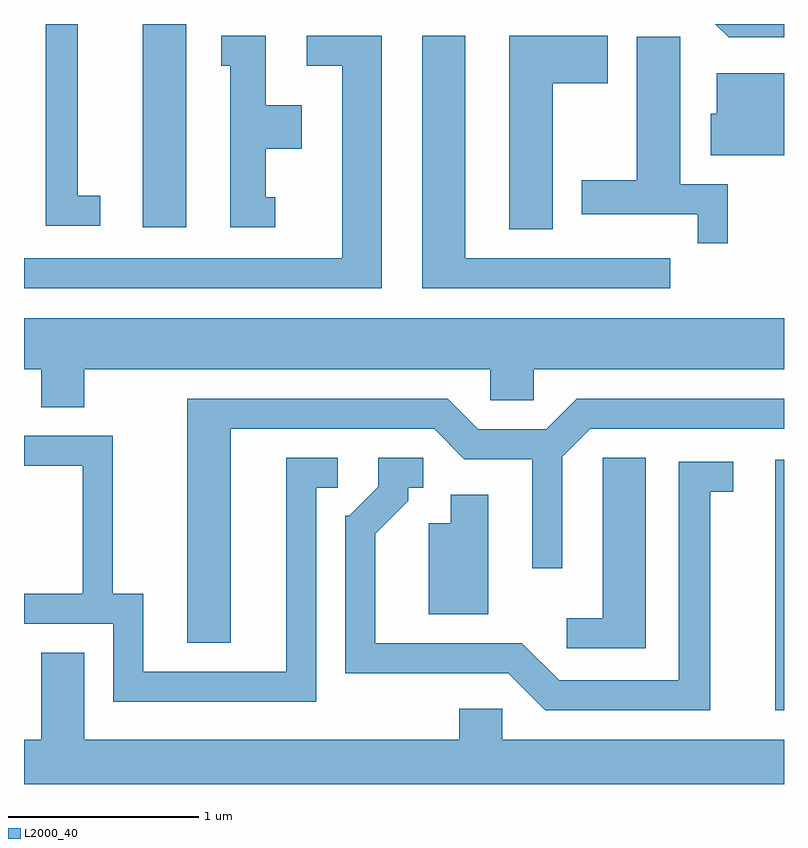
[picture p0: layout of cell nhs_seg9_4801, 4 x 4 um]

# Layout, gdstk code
import gdstk
lib = gdstk.Library(unit=1e-6, precision=1e-09)
def R(c, l, rs):  # rectangles x0, y0, x1, y1
    for r in rs: c.add(gdstk.rectangle(r[:2], r[2:], *l))
def P(c, l, *ps):  # polygons
    for p in ps: c.add(gdstk.Polygon(p, *l))
L2000_40 = (2000, 40)

nhs_seg9_4801 = lib.new_cell('nhs_seg9_4801')
R(nhs_seg9_4801, L2000_40, [(329.566,2078.821,329.611,2080.139), (326.236,2081.361,326.464,2082.432)])
P(nhs_seg9_4801, L2000_40, [(329.611,2082.432),(329.248,2082.432),(329.319,2082.361),(329.611,2082.361)],
  [(326.013,2081.529),(325.894,2081.529),(325.894,2082.432),(325.726,2082.432),(325.726,2081.371),(326.013,2081.371)],
  [(326.933,2081.519),(326.884,2081.519),(326.884,2081.776),(327.074,2081.776),(327.074,2082.004),(326.884,2082.004),(326.884,2082.369),(326.648,2082.369),(326.648,2082.211),(326.696,2082.211),(326.696,2081.361),(326.933,2081.361)],
  [(328.394,2082.121),(328.684,2082.121),(328.684,2082.369),(328.166,2082.369),(328.166,2081.351),(328.394,2081.351)],
  [(329.013,2081.199),(327.934,2081.199),(327.934,2082.369),(327.706,2082.369),(327.706,2081.041),(329.013,2081.041)],
  [(327.494,2082.369),(327.098,2082.369),(327.098,2082.211),(327.286,2082.211),(327.286,2081.199),(325.611,2081.199),(325.611,2081.041),(327.494,2081.041)],
  [(329.314,2081.589),(329.064,2081.589),(329.064,2082.364),(328.836,2082.364),(328.836,2081.609),(328.546,2081.609),(328.546,2081.431),(329.156,2081.431),(329.156,2081.278),(329.314,2081.278)],
  [(329.611,2082.174),(329.256,2082.174),(329.256,2081.959),(329.226,2081.959),(329.226,2081.741),(329.611,2081.741)],
  [(325.929,2080.616),(328.066,2080.616),(328.066,2080.451),(328.294,2080.451),(328.294,2080.616),(329.611,2080.616),(329.611,2080.884),(325.611,2080.884),(325.611,2080.616),(325.701,2080.616),(325.701,2080.416),(325.929,2080.416)],
  [(326.699,2080.301),(327.769,2080.301),(327.929,2080.141),(328.286,2080.141),(328.286,2079.568),(328.444,2079.568),(328.444,2080.154),(328.592,2080.301),(329.611,2080.301),(329.611,2080.459),(328.519,2080.459),(328.359,2080.299),(328.002,2080.299),(327.842,2080.459),(326.471,2080.459),(326.471,2079.176),(326.699,2079.176)],
  [(327.149,2079.991),(327.263,2079.991),(327.263,2080.149),(326.991,2080.149),(326.991,2079.024),(326.239,2079.024),(326.239,2079.434),(326.079,2079.434),(326.079,2080.264),(325.611,2080.264),(325.611,2080.106),(325.921,2080.106),(325.921,2079.434),(325.611,2079.434),(325.611,2079.276),(326.081,2079.276),(326.081,2078.866),(327.149,2078.866)],
  [(329.224,2079.971),(329.343,2079.971),(329.343,2080.129),(329.056,2080.129),(329.056,2078.979),(328.427,2078.979),(328.232,2079.174),(327.459,2079.174),(327.459,2079.749),(327.634,2079.923),(327.634,2079.991),(327.713,2079.991),(327.713,2080.149),(327.476,2080.149),(327.476,2079.997),(327.324,2079.844),(327.301,2079.844),(327.301,2079.016),(328.159,2079.016),(328.354,2078.821),(329.224,2078.821)],
  [(328.884,2080.149),(328.656,2080.149),(328.656,2079.304),(328.468,2079.304),(328.468,2079.146),(328.884,2079.146)],
  [(328.054,2079.954),(327.856,2079.954),(327.856,2079.804),(327.741,2079.804),(327.741,2079.326),(328.054,2079.326)],
  [(329.611,2078.664),(328.129,2078.664),(328.129,2078.829),(327.901,2078.829),(327.901,2078.664),(325.929,2078.664),(325.929,2079.124),(325.701,2079.124),(325.701,2078.664),(325.611,2078.664),(325.611,2078.432),(329.611,2078.432)])

lib.write_gds('nhs_seg9_4801.gds')
